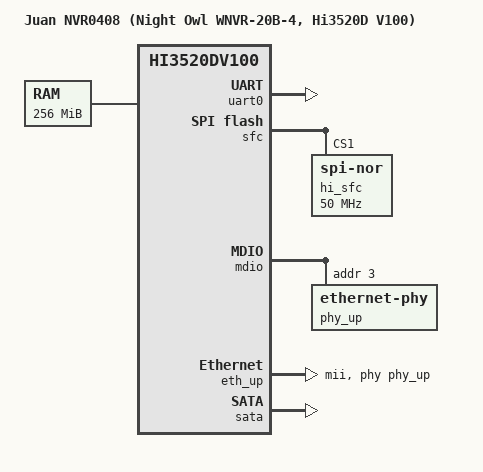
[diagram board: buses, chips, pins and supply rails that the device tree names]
// SPDX-License-Identifier: (GPL-2.0-or-later OR MIT)
/*
 * Juan NVR0408 4-channel NVR board (PCB HI3520D_V318P3_NVR0408), sold as the
 * Night Owl WNVR-20B-4: Hi3520D V100 (SC_SYSID 0x3520D100), 256 MiB DDR2 and
 * 16 MiB SPI NOR on chip select 1.
 */

/dts-v1/;
#include "hi3520dv100.dtsi"

/ {
	model = "Juan NVR0408 (Night Owl WNVR-20B-4, Hi3520D V100)";
	compatible = "juan,nvr0408", "hisilicon,hi3520dv100";

	chosen {
		stdout-path = "serial0:115200n8";
	};

	memory@80000000 {
		device_type = "memory";
		reg = <0x80000000 0x10000000>;
	};
};

&uart0 {
	status = "okay";
};

/*
 * 16 MiB flash on CS1, nothing on CS0. It takes the label the bootloader
 * names in mtdparts=, and no fixed partitions are given: the bootloader's
 * command line is the layout.
 */
&sfc {
	status = "okay";

	flash@1 {
		compatible = "jedec,spi-nor";
		reg = <1>;
		label = "hi_sfc";
		spi-max-frequency = <50000000>;
	};
};

/*
 * The RJ45 is on the up port through the SoC's internal PHY, in MII. The
 * PHY's address is not strapped: the MDIO driver writes this one into its
 * control register.
 */
&mdio {
	status = "okay";

	phy_up: ethernet-phy@3 {
		reg = <3>;
	};
};

&eth_up {
	phy-handle = <&phy_up>;
	phy-mode = "mii";
	status = "okay";
};

/*
 * The PHY value XiongMai's firmware writes (the Hi3520D reference value
 * leaves the link resetting on this board's SSD).
 */
&sata {
	hisilicon,phy-config = <0x0e262709>;
	status = "okay";
};

/*
 * SMSC USB2514 hub and RTL8188EUS behind the EHCI, OHCI is the companion.
 * Both hosts stay disabled: the USB PHY needs its own driver, which comes
 * with a separate series that enables them.
 */
